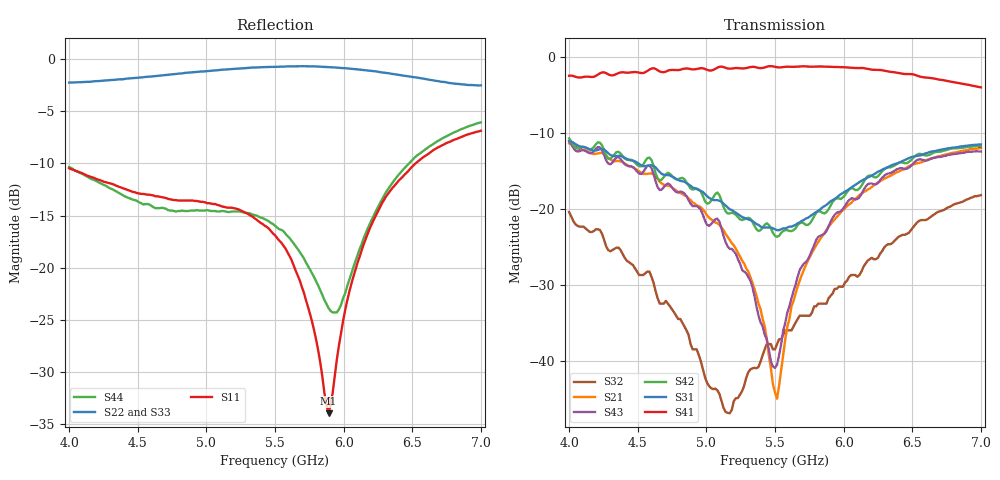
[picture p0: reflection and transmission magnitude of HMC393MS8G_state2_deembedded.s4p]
!Hittite Microwave Corporation
!12 Elizabeth Drive
!Chelmsford, MA 01824
!Tel: 978-250-3343
!Fax: 978-250-3373
!Device: HMC393MS8G, 5-6 GHz GaAs MMIC DPDT Diversity Switch in 8-lead Grounded Base surface Mount Plastic Package
!Misc:  Port 1 = ANT1, Port 2 = ANT2, Port 3 = Tx, Port 4 = Rx, Vctl=+5V, State 2 selected, Room
# MHZ S MA R 50
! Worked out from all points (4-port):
!   201 points, 4 GHz to 7 GHz, reference 50 ohm
!   strongest paths, dB at 4 GHz, 4.75 GHz, 5.5 GHz, 6.25 GHz, 7 GHz:
!     S41: -2.4, -1.7, -1.3, -1.7, -4.0
!     S31: -11.0, -15.7, -22.6, -15.0, -11.5
!     S42: -10.7, -15.6, -23.5, -15.7, -11.7
!     S43: -11.0, -17.1, -40.9, -16.5, -12.4
!     S21: -11.3, -17.1, -44.1, -16.5, -11.9
!     S32: -20.4, -33.2, -38.4, -26.4, -18.1
!   lowest |S11| = -34.0 dB at 5.89 GHz (marker M1), VSWR 1.04, Z = 51.3 + j1.52 ohm
!   |S11| at or under -10 dB: start of sweep to 6.523 GHz
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4000  0.3 65.8  0.293 1.1  0.303 7.9  0.74 55.8
      0.272 0.8  0.773 -1.5  0.1 -56.2  0.278 8.7
      0.281 7.4  0.096 -60.1  0.779 -1.9  0.266 2.9
      0.756 54.3  0.293 3.7  0.282 -2.2  0.304 70.9
5110  0.197 -3.4  0.079 -13.8  0.117 21.4  0.859 53.3
      0.076 -10.2  0.891 -44.0  0.0056 -133.4  0.108 23.1
      0.112 24.6  0.005496 -136.8  0.893 -40.7  0.07 -13.1
      0.868 53.1  0.114 15.9  0.075 -20.3  0.187 4.1
5515  0.139 -18.4  0.005298 -114.6  0.07 64.0  0.866 51.3
      0.005686 -111.6  0.921 -54.1  0.013 160.8  0.072 64.3
      0.073 67.4  0.013 163.9  0.921 -49.4  0.01 -123.2
      0.86 51.5  0.066 64.5  0.009538 -126.8  0.156 -7.2
5620  0.109 -19.3  0.025 -176.9  0.085 82.9  0.872 52.0
      0.023 -175.6  0.925 -56.9  0.019 167.4  0.074 81.3
      0.077 82.8  0.016 167.7  0.923 -52.0  0.026 -165.9
      0.864 51.4  0.072 80.6  0.026 -165.5  0.135 -7.0
5890  0.02 47.7  0.076 168.5  0.112 106.5  0.867 49.1
      0.077 172.5  0.919 -65.2  0.027 174.2  0.106 108.6
      0.11 109.2  0.026 179.6  0.915 -60.7  0.08 177.2
      0.866 49.2  0.1 111.4  0.077 -179.8  0.064 31.4
6280  0.204 124.9  0.15 163.7  0.175 119.6  0.821 44.5
      0.156 162.7  0.865 -83.4  0.052 -170.8  0.178 118.5
      0.182 118.8  0.053 -169.5  0.855 -80.2  0.162 164.9
      0.822 44.4  0.178 120.8  0.161 166.8  0.213 113.5
7000  0.454 119.8  0.259 147.1  0.274 111.2  0.633 41.7
      0.253 147.7  0.75 -131.9  0.124 175.1  0.254 110.0
      0.267 111.9  0.124 175.4  0.746 -134.5  0.236 147.3
      0.634 41.9  0.26 109.8  0.24 147.1  0.498 113.7
